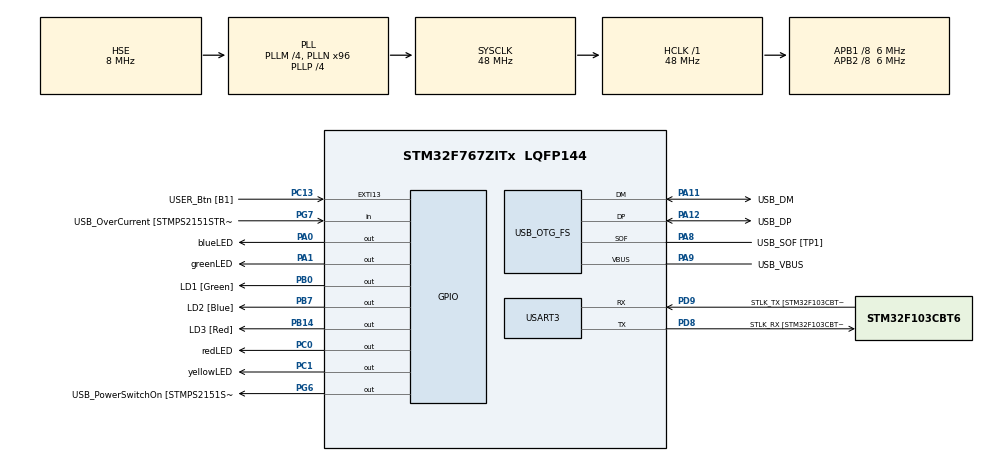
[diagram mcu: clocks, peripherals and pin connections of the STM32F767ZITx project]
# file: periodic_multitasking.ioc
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FREERTOS.Tasks01=ToggleGreenTask,24,128,ToggleGreenHook,Default,NULL,Dynamic,NULL,NULL;ToggleRedTask,24,128,ToggleRedHook,Default,NULL,Dynamic,NULL,NULL
Mcu.Family=STM32F7
Mcu.Name=STM32F767ZITx
Mcu.Package=LQFP144
NVIC.PriorityGroup=NVIC_PRIORITYGROUP_4
PA0/WKUP.GPIO_Label=blueLED
PA0/WKUP.Signal=GPIO_Output
PA1.GPIO_Label=greenLED
PA1.Signal=GPIO_Output
PA10.GPIO_Label=USB_ID
PA10.Signal=USB_OTG_FS_ID
PA11.GPIO_Label=USB_DM
PA11.Mode=Device_Only
PA11.Signal=USB_OTG_FS_DM
PA12.GPIO_Label=USB_DP
PA12.Mode=Device_Only
PA12.Signal=USB_OTG_FS_DP
PA13.GPIO_Label=TMS
PA13.Mode=Serial_Wire
PA13.Signal=SYS_JTMS-SWDIO
PA14.GPIO_Label=TCK
PA14.Mode=Serial_Wire
PA14.Signal=SYS_JTCK-SWCLK
PA2.GPIO_Label=RMII_MDIO [LAN8742A-CZ-TR_MDIO]
PA2.Signal=ETH_MDIO
PA7.GPIO_Label=RMII_CRS_DV [LAN8742A-CZ-TR_CRS_DV]
PA7.Signal=ETH_CRS_DV
PA8.GPIO_Label=USB_SOF [TP1]
PA8.Mode=Activate_SOF_FS
PA8.Signal=USB_OTG_FS_SOF
PA9.GPIO_Label=USB_VBUS
PA9.Mode=Activate_VBUS
PA9.Signal=USB_OTG_FS_VBUS
PB0.GPIO_Label=LD1 [Green]
PB0.Signal=GPIO_Output
PB13.GPIO_Label=RMII_TXD1 [LAN8742A-CZ-TR_TXD1]
PB13.Signal=ETH_TXD1
PB14.GPIO_Label=LD3 [Red]
PB14.Signal=GPIO_Output
PB3.GPIO_Label=SWO
PB3.Signal=SYS_JTDO-SWO
PB7.GPIO_Label=LD2 [Blue]
PB7.Signal=GPIO_Output
PC0.GPIO_Label=redLED
PC0.Signal=GPIO_Output
PC1.GPIO_Label=yellowLED
PC1.Signal=GPIO_Output
PC13.GPIO_Label=USER_Btn [B1]
PC13.Signal=GPXTI13
PC14/OSC32_IN.Mode=LSE-External-Oscillator
PC14/OSC32_IN.Signal=RCC_OSC32_IN
PC15/OSC32_OUT.Mode=LSE-External-Oscillator
PC15/OSC32_OUT.Signal=RCC_OSC32_OUT
PC4.GPIO_Label=RMII_RXD0 [LAN8742A-CZ-TR_RXD0]
PC4.Signal=ETH_RXD0
PC5.GPIO_Label=RMII_RXD1 [LAN8742A-CZ-TR_RXD1]
PC5.Signal=ETH_RXD1
PD8.GPIO_Label=STLK_RX [STM32F103CBT6_PA3]
PD8.Mode=Asynchronous
PD8.Signal=USART3_TX
PD9.GPIO_Label=STLK_TX [STM32F103CBT6_PA2]
PD9.Mode=Asynchronous
PD9.Signal=USART3_RX
PG11.GPIO_Label=RMII_TX_EN [LAN8742A-CZ-TR_TXEN]
PG11.Signal=ETH_TX_EN
PG13.GPIO_Label=RMII_TXD0 [LAN8742A-CZ-TR_TXD0]
PG13.Signal=ETH_TXD0
PG6.GPIO_Label=USB_PowerSwitchOn [STMPS2151STR_EN]
PG6.Signal=GPIO_Output
PG7.GPIO_Label=USB_OverCurrent [STMPS2151STR_FAULT]
PG7.Signal=GPIO_Input
PH0/OSC_IN.GPIO_Label=MCO [STM32F103CBT6_PA8]
PH0/OSC_IN.Mode=HSE-External-Clock-Source
PH0/OSC_IN.Signal=RCC_OSC_IN
PH1/OSC_OUT.Mode=HSE-External-Clock-Source
PH1/OSC_OUT.Signal=RCC_OSC_OUT
ProjectManager.HeapSize=0x200
ProjectManager.StackSize=0x400
ProjectManager.TargetToolchain=STM32CubeIDE
RCC.48MHZClocksFreq_Value=24000000
RCC.AHBFreq_Value=48000000
RCC.APB1CLKDivider=RCC_HCLK_DIV8
RCC.APB1Freq_Value=6000000
RCC.APB1TimFreq_Value=12000000
RCC.APB2CLKDivider=RCC_HCLK_DIV8
RCC.APB2Freq_Value=6000000
RCC.APB2TimFreq_Value=12000000
RCC.CortexFreq_Value=48000000
RCC.HCLKFreq_Value=48000000
RCC.HSE_VALUE=8000000
RCC.HSI_VALUE=16000000
RCC.PLL48CLockSelection=RCC_CLK48SOURCE_PLLSAIP
RCC.PLLM=4
RCC.PLLMUL=RCC_PLL_MUL9
RCC.PLLN=96
RCC.PLLP=RCC_PLLP_DIV4
RCC.PLLQ=8
RCC.PLLSAIP=RCC_PLLSAIP_DIV8
RCC.PRESCALERUSB=RCC_USBCLKSOURCE_PLL_DIV1_5
RCC.SYSCLKFreq_VALUE=48000000
RCC.SYSCLKSource=RCC_SYSCLKSOURCE_PLLCLK
RCC.SYSCLKSourceVirtual=RCC_SYSCLKSOURCE_PLLCLK
RCC.USBFreq_Value=48000000
RCC.VCOOutputFreq_Value=192000000
USART3.VirtualMode-Asynchronous=VM_ASYNC
USB_OTG_FS.VirtualMode=Device_Only
VP_FREERTOS_VS_CMSIS_V2.Mode=CMSIS_V2
board=NUCLEO-F767ZI

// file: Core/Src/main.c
/* USER CODE BEGIN Header */
/**
  ******************************************************************************
  * @file           : main.c
  * @brief          : Main program body
  ******************************************************************************
  * @attention
  *
  * Copyright (c) 2025 STMicroelectronics.
  * All rights reserved.
  *
  * This software is licensed under terms that can be found in the LICENSE file
  * in the root directory of this software component.
  * If no LICENSE file comes with this software, it is provided AS-IS.
  *
  ******************************************************************************
  */
/* USER CODE END Header */
#include "main.h"
#include "cmsis_os.h"

UART_HandleTypeDef huart3;

PCD_HandleTypeDef hpcd_USB_OTG_FS;

/* Definitions for ToggleGreenTask */
osThreadId_t ToggleGreenTaskHandle;
const osThreadAttr_t ToggleGreenTask_attributes = {
  .name = "ToggleGreenTask",
  .stack_size = 128 * 4,
  .priority = (osPriority_t) osPriorityNormal,
};
/* Definitions for ToggleRedTask */
osThreadId_t ToggleRedTaskHandle;
const osThreadAttr_t ToggleRedTask_attributes = {
  .name = "ToggleRedTask",
  .stack_size = 128 * 4,
  .priority = (osPriority_t) osPriorityNormal,
};

void SystemClock_Config(void);
static void MX_GPIO_Init(void);
static void MX_USART3_UART_Init(void);
static void MX_USB_OTG_FS_PCD_Init(void);
void ToggleGreenHook(void *argument);
void ToggleRedHook(void *argument);

/* USER CODE BEGIN 0 */
const uint32_t tickcount_6s = pdMS_TO_TICKS(6000);
const uint32_t tickcount_4s = pdMS_TO_TICKS(4000);
const uint32_t tickcount_2s = pdMS_TO_TICKS(2000);
const uint32_t tickcount_50ms = pdMS_TO_TICKS(50);

/* USER CODE END 0 */

int main(void)
{

  /* MCU Configuration--------------------------------------------------------*/

  /* Reset of all peripherals, Initializes the Flash interface and the Systick. */
  HAL_Init();

  /* Configure the system clock */
  SystemClock_Config();

  /* Initialize all configured peripherals */
  MX_GPIO_Init();
  MX_USART3_UART_Init();
  MX_USB_OTG_FS_PCD_Init();

  /* Init scheduler */
  osKernelInitialize();

  /* Create the thread(s) */
  /* creation of ToggleGreenTask */
  ToggleGreenTaskHandle = osThreadNew(ToggleGreenHook, NULL, &ToggleGreenTask_attributes);

  /* creation of ToggleRedTask */
  ToggleRedTaskHandle = osThreadNew(ToggleRedHook, NULL, &ToggleRedTask_attributes);

  /* Start scheduler */
  osKernelStart();
  /* We should never get here as control is now taken by the scheduler */
  /* Infinite loop */
  while (1)
  {

  }
}

void SystemClock_Config(void)
{
  RCC_OscInitTypeDef RCC_OscInitStruct = {0};
  RCC_ClkInitTypeDef RCC_ClkInitStruct = {0};

  /** Configure LSE Drive Capability
  */
  HAL_PWR_EnableBkUpAccess();

  /** Configure the main internal regulator output voltage
  */
  __HAL_RCC_PWR_CLK_ENABLE();
  __HAL_PWR_VOLTAGESCALING_CONFIG(PWR_REGULATOR_VOLTAGE_SCALE3);

  /** Initializes the RCC Oscillators according to the specified parameters
  * in the RCC_OscInitTypeDef structure.
  */
  RCC_OscInitStruct.OscillatorType = RCC_OSCILLATORTYPE_HSE;
  RCC_OscInitStruct.HSEState = RCC_HSE_BYPASS;
  RCC_OscInitStruct.PLL.PLLState = RCC_PLL_ON;
  RCC_OscInitStruct.PLL.PLLSource = RCC_PLLSOURCE_HSE;
  RCC_OscInitStruct.PLL.PLLM = 4;
  RCC_OscInitStruct.PLL.PLLN = 96;
  RCC_OscInitStruct.PLL.PLLP = RCC_PLLP_DIV4;
  RCC_OscInitStruct.PLL.PLLQ = 8;
  RCC_OscInitStruct.PLL.PLLR = 2;
  if (HAL_RCC_OscConfig(&RCC_OscInitStruct) != HAL_OK)
  {
    Error_Handler();
  }

  /** Initializes the CPU, AHB and APB buses clocks
  */
  RCC_ClkInitStruct.ClockType = RCC_CLOCKTYPE_HCLK|RCC_CLOCKTYPE_SYSCLK
                              |RCC_CLOCKTYPE_PCLK1|RCC_CLOCKTYPE_PCLK2;
  RCC_ClkInitStruct.SYSCLKSource = RCC_SYSCLKSOURCE_PLLCLK;
  RCC_ClkInitStruct.AHBCLKDivider = RCC_SYSCLK_DIV1;
  RCC_ClkInitStruct.APB1CLKDivider = RCC_HCLK_DIV8;
  RCC_ClkInitStruct.APB2CLKDivider = RCC_HCLK_DIV8;

  if (HAL_RCC_ClockConfig(&RCC_ClkInitStruct, FLASH_LATENCY_1) != HAL_OK)
  {
    Error_Handler();
  }
}

static void MX_USART3_UART_Init(void)
{

  huart3.Instance = USART3;
  huart3.Init.BaudRate = 115200;
  huart3.Init.WordLength = UART_WORDLENGTH_8B;
  huart3.Init.StopBits = UART_STOPBITS_1;
  huart3.Init.Parity = UART_PARITY_NONE;
  huart3.Init.Mode = UART_MODE_TX_RX;
  huart3.Init.HwFlowCtl = UART_HWCONTROL_NONE;
  huart3.Init.OverSampling = UART_OVERSAMPLING_16;
  huart3.Init.OneBitSampling = UART_ONE_BIT_SAMPLE_DISABLE;
  huart3.AdvancedInit.AdvFeatureInit = UART_ADVFEATURE_NO_INIT;
  if (HAL_UART_Init(&huart3) != HAL_OK)
  {
    Error_Handler();
  }

}

static void MX_USB_OTG_FS_PCD_Init(void)
{

  hpcd_USB_OTG_FS.Instance = USB_OTG_FS;
  hpcd_USB_OTG_FS.Init.dev_endpoints = 6;
  hpcd_USB_OTG_FS.Init.speed = PCD_SPEED_FULL;
  hpcd_USB_OTG_FS.Init.dma_enable = DISABLE;
  hpcd_USB_OTG_FS.Init.phy_itface = PCD_PHY_EMBEDDED;
  hpcd_USB_OTG_FS.Init.Sof_enable = ENABLE;
  hpcd_USB_OTG_FS.Init.low_power_enable = DISABLE;
  hpcd_USB_OTG_FS.Init.lpm_enable = DISABLE;
  hpcd_USB_OTG_FS.Init.vbus_sensing_enable = ENABLE;
  hpcd_USB_OTG_FS.Init.use_dedicated_ep1 = DISABLE;
  if (HAL_PCD_Init(&hpcd_USB_OTG_FS) != HAL_OK)
  {
    Error_Handler();
  }

}

static void MX_GPIO_Init(void)
{
  GPIO_InitTypeDef GPIO_InitStruct = {0};

  /* GPIO Ports Clock Enable */
  __HAL_RCC_GPIOC_CLK_ENABLE();
  __HAL_RCC_GPIOH_CLK_ENABLE();
  __HAL_RCC_GPIOA_CLK_ENABLE();
  __HAL_RCC_GPIOB_CLK_ENABLE();
  __HAL_RCC_GPIOD_CLK_ENABLE();
  __HAL_RCC_GPIOG_CLK_ENABLE();

  /*Configure GPIO pin Output Level */
  HAL_GPIO_WritePin(GPIOC, redLED_Pin|yellowLED_Pin, GPIO_PIN_RESET);

  /*Configure GPIO pin Output Level */
  HAL_GPIO_WritePin(GPIOA, blueLED_Pin|greenLED_Pin, GPIO_PIN_RESET);

  /*Configure GPIO pin Output Level */
  HAL_GPIO_WritePin(GPIOB, LD1_Pin|LD3_Pin|LD2_Pin, GPIO_PIN_RESET);

  /*Configure GPIO pin Output Level */
  HAL_GPIO_WritePin(USB_PowerSwitchOn_GPIO_Port, USB_PowerSwitchOn_Pin, GPIO_PIN_RESET);

  /*Configure GPIO pin : USER_Btn_Pin */
  GPIO_InitStruct.Pin = USER_Btn_Pin;
  GPIO_InitStruct.Mode = GPIO_MODE_IT_RISING;
  GPIO_InitStruct.Pull = GPIO_NOPULL;
  HAL_GPIO_Init(USER_Btn_GPIO_Port, &GPIO_InitStruct);

  /*Configure GPIO pins : redLED_Pin yellowLED_Pin */
  GPIO_InitStruct.Pin = redLED_Pin|yellowLED_Pin;
  GPIO_InitStruct.Mode = GPIO_MODE_OUTPUT_PP;
  GPIO_InitStruct.Pull = GPIO_NOPULL;
  GPIO_InitStruct.Speed = GPIO_SPEED_FREQ_LOW;
  HAL_GPIO_Init(GPIOC, &GPIO_InitStruct);

  /*Configure GPIO pins : blueLED_Pin greenLED_Pin */
  GPIO_InitStruct.Pin = blueLED_Pin|greenLED_Pin;
  GPIO_InitStruct.Mode = GPIO_MODE_OUTPUT_PP;
  GPIO_InitStruct.Pull = GPIO_NOPULL;
  GPIO_InitStruct.Speed = GPIO_SPEED_FREQ_LOW;
  HAL_GPIO_Init(GPIOA, &GPIO_InitStruct);

  /*Configure GPIO pins : RMII_MDIO_Pin RMII_CRS_DV_Pin */
  GPIO_InitStruct.Pin = RMII_MDIO_Pin|RMII_CRS_DV_Pin;
  GPIO_InitStruct.Mode = GPIO_MODE_AF_PP;
  GPIO_InitStruct.Pull = GPIO_NOPULL;
  GPIO_InitStruct.Speed = GPIO_SPEED_FREQ_VERY_HIGH;
  GPIO_InitStruct.Alternate = GPIO_AF11_ETH;
  HAL_GPIO_Init(GPIOA, &GPIO_InitStruct);

  /*Configure GPIO pins : RMII_RXD0_Pin RMII_RXD1_Pin */
  GPIO_InitStruct.Pin = RMII_RXD0_Pin|RMII_RXD1_Pin;
  GPIO_InitStruct.Mode = GPIO_MODE_AF_PP;
  GPIO_InitStruct.Pull = GPIO_NOPULL;
  GPIO_InitStruct.Speed = GPIO_SPEED_FREQ_VERY_HIGH;
  GPIO_InitStruct.Alternate = GPIO_AF11_ETH;
  HAL_GPIO_Init(GPIOC, &GPIO_InitStruct);

  /*Configure GPIO pins : LD1_Pin LD3_Pin LD2_Pin */
  GPIO_InitStruct.Pin = LD1_Pin|LD3_Pin|LD2_Pin;
  GPIO_InitStruct.Mode = GPIO_MODE_OUTPUT_PP;
  GPIO_InitStruct.Pull = GPIO_NOPULL;
  GPIO_InitStruct.Speed = GPIO_SPEED_FREQ_LOW;
  HAL_GPIO_Init(GPIOB, &GPIO_InitStruct);

  /*Configure GPIO pin : RMII_TXD1_Pin */
  GPIO_InitStruct.Pin = RMII_TXD1_Pin;
  GPIO_InitStruct.Mode = GPIO_MODE_AF_PP;
  GPIO_InitStruct.Pull = GPIO_NOPULL;
  GPIO_InitStruct.Speed = GPIO_SPEED_FREQ_VERY_HIGH;
  GPIO_InitStruct.Alternate = GPIO_AF11_ETH;
  HAL_GPIO_Init(RMII_TXD1_GPIO_Port, &GPIO_InitStruct);

  /*Configure GPIO pin : USB_PowerSwitchOn_Pin */
  GPIO_InitStruct.Pin = USB_PowerSwitchOn_Pin;
  GPIO_InitStruct.Mode = GPIO_MODE_OUTPUT_PP;
  GPIO_InitStruct.Pull = GPIO_NOPULL;
  GPIO_InitStruct.Speed = GPIO_SPEED_FREQ_LOW;
  HAL_GPIO_Init(USB_PowerSwitchOn_GPIO_Port, &GPIO_InitStruct);

  /*Configure GPIO pin : USB_OverCurrent_Pin */
  GPIO_InitStruct.Pin = USB_OverCurrent_Pin;
  GPIO_InitStruct.Mode = GPIO_MODE_INPUT;
  GPIO_InitStruct.Pull = GPIO_NOPULL;
  HAL_GPIO_Init(USB_OverCurrent_GPIO_Port, &GPIO_InitStruct);

  /*Configure GPIO pins : RMII_TX_EN_Pin RMII_TXD0_Pin */
  GPIO_InitStruct.Pin = RMII_TX_EN_Pin|RMII_TXD0_Pin;
  GPIO_InitStruct.Mode = GPIO_MODE_AF_PP;
  GPIO_InitStruct.Pull = GPIO_NOPULL;
  GPIO_InitStruct.Speed = GPIO_SPEED_FREQ_VERY_HIGH;
  GPIO_InitStruct.Alternate = GPIO_AF11_ETH;
  HAL_GPIO_Init(GPIOG, &GPIO_InitStruct);

}

void ToggleGreenHook(void *argument)
{
  /* USER CODE BEGIN 5 */
	int count;
  /* Infinite loop */
  for(;;)
  {
	vTaskDelay(tickcount_6s);
	HAL_GPIO_WritePin(blueLED_GPIO_Port, blueLED_Pin, GPIO_PIN_SET);

	for (count = 0; count < 80; ++count) {
		HAL_GPIO_TogglePin(greenLED_GPIO_Port, greenLED_Pin);
		vTaskDelay(tickcount_50ms);
	}

	HAL_GPIO_WritePin(blueLED_GPIO_Port, blueLED_Pin, GPIO_PIN_RESET);
  }
  /* USER CODE END 5 */
}

void ToggleRedHook(void *argument)
{
  /* USER CODE BEGIN ToggleRedHook */
	int count;
  /* Infinite loop */
  for(;;)
  {
	vTaskDelay(tickcount_6s);
	HAL_GPIO_WritePin(yellowLED_GPIO_Port, yellowLED_Pin, GPIO_PIN_SET);

	for (count = 0; count < 40; ++count) {
		HAL_GPIO_TogglePin(redLED_GPIO_Port, redLED_Pin);
		vTaskDelay(tickcount_50ms);
	}

	HAL_GPIO_WritePin(yellowLED_GPIO_Port, yellowLED_Pin, GPIO_PIN_RESET);
	vTaskDelay(tickcount_2s);
  }
  /* USER CODE END ToggleRedHook */
}

void Error_Handler(void)
{
  __disable_irq();
  while (1)
  {
  }
}
